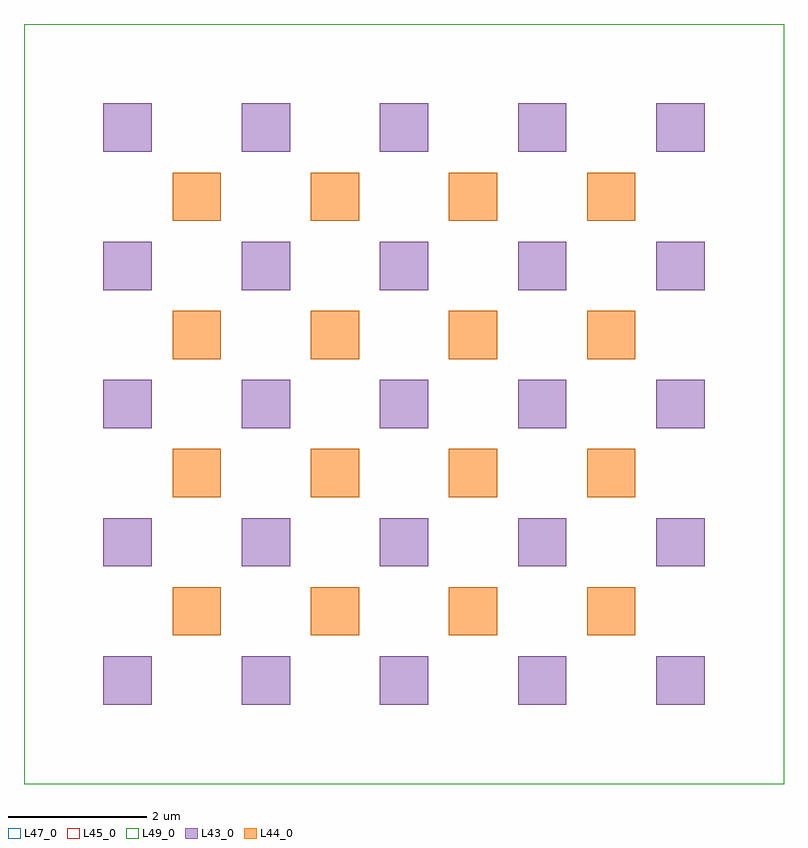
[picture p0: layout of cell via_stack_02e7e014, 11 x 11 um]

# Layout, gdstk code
import gdstk
lib = gdstk.Library(unit=1e-6, precision=1e-09)
def R(c, l, rs):  # rectangles x0, y0, x1, y1
    for r in rs: c.add(gdstk.rectangle(r[:2], r[2:], *l))
L43_0 = (43, 0)
L44_0 = (44, 0)
L45_0 = (45, 0)
L47_0 = (47, 0)
L49_0 = (49, 0)

compass_8277d85c = lib.new_cell('compass_8277d85c')
R(compass_8277d85c, L47_0, [(-5.5,-5.5,5.5,5.5)])

compass_6419de30 = lib.new_cell('compass_6419de30')
R(compass_6419de30, L45_0, [(-5.5,-5.5,5.5,5.5)])

compass_807edd3d = lib.new_cell('compass_807edd3d')
R(compass_807edd3d, L49_0, [(-5.5,-5.5,5.5,5.5)])

via_enclosure2_layervia1 = lib.new_cell('via_enclosure2_layerVIA1')
R(via_enclosure2_layervia1, L44_0, [(-0.35,-0.35,0.35,0.35)])

via_layervia2 = lib.new_cell('via_layerVIA2')
R(via_layervia2, L43_0, [(-0.35,-0.35,0.35,0.35)])

via_stack_02e7e014 = lib.new_cell('via_stack_02e7e014')
via_stack_02e7e014.add(gdstk.Reference(compass_8277d85c, (0,0)))
via_stack_02e7e014.add(gdstk.Reference(compass_6419de30, (0,0)))
via_stack_02e7e014.add(gdstk.Reference(compass_807edd3d, (0,0)))
r = gdstk.Reference(via_enclosure2_layervia1, (-3,-3)); r.repetition = gdstk.Repetition(4, 4, v1=(2,0), v2=(0,2)); via_stack_02e7e014.add(r)
r = gdstk.Reference(via_layervia2, (-4,-4)); r.repetition = gdstk.Repetition(5, 5, v1=(2,0), v2=(0,2)); via_stack_02e7e014.add(r)

lib.write_gds('via_stack_02e7e014.gds')
